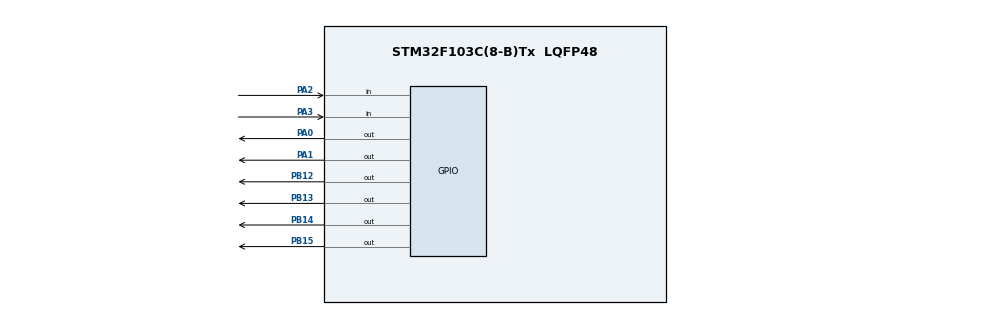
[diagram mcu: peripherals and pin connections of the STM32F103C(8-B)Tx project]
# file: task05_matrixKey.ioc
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Mcu.Family=STM32F1
Mcu.Name=STM32F103C(8-B)Tx
Mcu.Package=LQFP48
NVIC.PriorityGroup=NVIC_PRIORITYGROUP_4
PA0-WKUP.GPIO_PuPd=GPIO_NOPULL
PA0-WKUP.PinState=GPIO_PIN_SET
PA0-WKUP.Signal=GPIO_Output
PA1.GPIO_PuPd=GPIO_NOPULL
PA1.PinState=GPIO_PIN_SET
PA1.Signal=GPIO_Output
PA13.Mode=Serial_Wire
PA13.Signal=SYS_JTMS-SWDIO
PA14.Mode=Serial_Wire
PA14.Signal=SYS_JTCK-SWCLK
PA2.GPIO_PuPd=GPIO_PULLUP
PA2.Signal=GPIO_Input
PA3.GPIO_PuPd=GPIO_PULLUP
PA3.Signal=GPIO_Input
PB12.PinState=GPIO_PIN_SET
PB12.Signal=GPIO_Output
PB13.PinState=GPIO_PIN_SET
PB13.Signal=GPIO_Output
PB14.PinState=GPIO_PIN_SET
PB14.Signal=GPIO_Output
PB15.PinState=GPIO_PIN_SET
PB15.Signal=GPIO_Output
ProjectManager.HeapSize=0x200
ProjectManager.StackSize=0x400
ProjectManager.TargetToolchain=CMake
RCC.APB1Freq_Value=8000000
RCC.APB2Freq_Value=8000000
board=custom

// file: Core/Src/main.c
/* USER CODE BEGIN Header */
/**
  ******************************************************************************
  * @file           : main.c
  * @brief          : Main program body
  ******************************************************************************
  */
/* USER CODE END Header */

#include "main.h"

/* USER CODE BEGIN PV */
uint16_t LED_PINS[4] = {GPIO_PIN_12, GPIO_PIN_13, GPIO_PIN_14, GPIO_PIN_15};
uint16_t ROW_PINS[2] = {GPIO_PIN_0, GPIO_PIN_1};
uint16_t COL_PINS[2] = {GPIO_PIN_2, GPIO_PIN_3};
/* USER CODE END PV */

void SystemClock_Config(void);
static void MX_GPIO_Init(void);
/* USER CODE BEGIN PFP */
uint8_t KEYPAD_2x2_Scan(void);
/* USER CODE END PFP */

int main(void)
{
  HAL_Init();
  SystemClock_Config();
  MX_GPIO_Init();

  /* Infinite loop */
  /* USER CODE BEGIN WHILE */
  while (1)
  {
    uint8_t key_pressed = KEYPAD_2x2_Scan();

    if (key_pressed != 0) {
        // debounce
        HAL_Delay(20);

        // check for 20s
        if (KEYPAD_2x2_Scan() == key_pressed) {

            // toggle
            HAL_GPIO_TogglePin(GPIOB, LED_PINS[key_pressed - 1]);

            // wait
            while (KEYPAD_2x2_Scan() != 0) {
                HAL_Delay(10);
            }
        }
    }
    /* USER CODE END WHILE */

  }
}

void SystemClock_Config(void)
{
  RCC_OscInitTypeDef RCC_OscInitStruct = {0};
  RCC_ClkInitTypeDef RCC_ClkInitStruct = {0};

  RCC_OscInitStruct.OscillatorType = RCC_OSCILLATORTYPE_HSI;
  RCC_OscInitStruct.HSIState = RCC_HSI_ON;
  RCC_OscInitStruct.HSICalibrationValue = RCC_HSICALIBRATION_DEFAULT;
  RCC_OscInitStruct.PLL.PLLState = RCC_PLL_NONE;
  if (HAL_RCC_OscConfig(&RCC_OscInitStruct) != HAL_OK)
  {
    Error_Handler();
  }

  RCC_ClkInitStruct.ClockType = RCC_CLOCKTYPE_HCLK|RCC_CLOCKTYPE_SYSCLK
                              |RCC_CLOCKTYPE_PCLK1|RCC_CLOCKTYPE_PCLK2;
  RCC_ClkInitStruct.SYSCLKSource = RCC_SYSCLKSOURCE_HSI;
  RCC_ClkInitStruct.AHBCLKDivider = RCC_SYSCLK_DIV1;
  RCC_ClkInitStruct.APB1CLKDivider = RCC_HCLK_DIV1;
  RCC_ClkInitStruct.APB2CLKDivider = RCC_HCLK_DIV1;

  if (HAL_RCC_ClockConfig(&RCC_ClkInitStruct, FLASH_LATENCY_0) != HAL_OK)
  {
    Error_Handler();
  }
}

static void MX_GPIO_Init(void)
{
  GPIO_InitTypeDef GPIO_InitStruct = {0};

  /* GPIO Ports Clock Enable */
  __HAL_RCC_GPIOA_CLK_ENABLE();
  __HAL_RCC_GPIOB_CLK_ENABLE();

  /* Configure GPIO pin Output Level for Rows (GPIOA) */
  HAL_GPIO_WritePin(GPIOA, GPIO_PIN_0|GPIO_PIN_1, GPIO_PIN_SET);

  /* Configure GPIO pin Output Level for LEDs (GPIOB) */
  HAL_GPIO_WritePin(GPIOB, GPIO_PIN_12|GPIO_PIN_13|GPIO_PIN_14|GPIO_PIN_15, GPIO_PIN_RESET);

  /* Configure GPIO pins : PA0 PA1 (Output Push-Pull for Rows) */
  GPIO_InitStruct.Pin = GPIO_PIN_0|GPIO_PIN_1;
  GPIO_InitStruct.Mode = GPIO_MODE_OUTPUT_PP;
  GPIO_InitStruct.Pull = GPIO_NOPULL;
  GPIO_InitStruct.Speed = GPIO_SPEED_FREQ_LOW;
  HAL_GPIO_Init(GPIOA, &GPIO_InitStruct);

  /* Configure GPIO pins : PA2 PA3 (Input Pull-Up for Columns) */
  GPIO_InitStruct.Pin = GPIO_PIN_2|GPIO_PIN_3;
  GPIO_InitStruct.Mode = GPIO_MODE_INPUT;
  GPIO_InitStruct.Pull = GPIO_PULLUP;
  HAL_GPIO_Init(GPIOA, &GPIO_InitStruct);

  /* Configure GPIO pins : PB12 PB13 PB14 PB15 (Output Push-Pull for LEDs) */
  GPIO_InitStruct.Pin = GPIO_PIN_12|GPIO_PIN_13|GPIO_PIN_14|GPIO_PIN_15;
  GPIO_InitStruct.Mode = GPIO_MODE_OUTPUT_PP;
  GPIO_InitStruct.Pull = GPIO_NOPULL;
  GPIO_InitStruct.Speed = GPIO_SPEED_FREQ_LOW;
  HAL_GPIO_Init(GPIOB, &GPIO_InitStruct);
}

/* USER CODE BEGIN 4 */
uint8_t KEYPAD_2x2_Scan(void) {
    uint8_t key = 0;

    for (uint8_t r = 0; r < 2; r++) {
        HAL_GPIO_WritePin(GPIOA, ROW_PINS[0], (r == 0) ? GPIO_PIN_RESET : GPIO_PIN_SET);
        HAL_GPIO_WritePin(GPIOA, ROW_PINS[1], (r == 1) ? GPIO_PIN_RESET : GPIO_PIN_SET);

        HAL_Delay(2);

        for (uint8_t c = 0; c < 2; c++) {
            if (HAL_GPIO_ReadPin(GPIOA, COL_PINS[c]) == GPIO_PIN_RESET) {
                key = (r * 2 + c) + 1;
                break;
            }
        }

        if (key != 0) break;
    }

    HAL_GPIO_WritePin(GPIOA, ROW_PINS[0], GPIO_PIN_SET);
    HAL_GPIO_WritePin(GPIOA, ROW_PINS[1], GPIO_PIN_SET);

    return key;
}
/* USER CODE END 4 */

void Error_Handler(void)
{
  __disable_irq();
  while (1) {}
}
